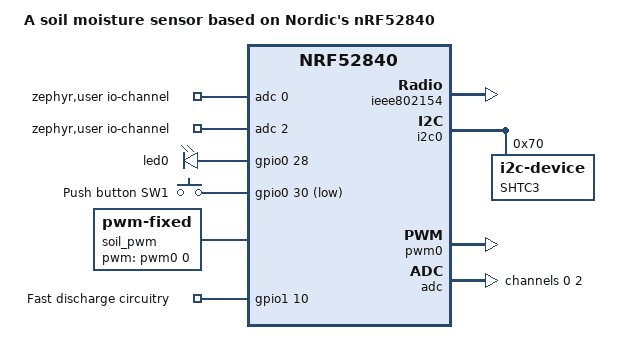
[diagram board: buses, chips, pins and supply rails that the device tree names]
/dts-v1/;
#include <nordic/nrf52840_qiaa.dtsi>
#include "bparasite_nrf52840-pinctrl.dtsi"

/ {
	model = "A soil moisture sensor based on Nordic's nRF52840";
	compatible = "rbaron,bparasite_nrf52840";

	chosen {
		zephyr,sram = &sram0;
		zephyr,flash = &flash0;
		zephyr,code-partition = &slot0_partition;
		zephyr,ieee802154 = &ieee802154;
	};

	zephyr,user {
		io-channels = <&adc 0>, <&adc 2>;
	};

	leds {
		compatible = "gpio-leds";
		led0: led_0 {
			// P0.28.
			gpios = <&gpio0 28 GPIO_ACTIVE_HIGH>;
		};
	};

	buttons {
		compatible = "gpio-keys";
		button0: button_0 {
			// P0.30.
			gpios = <&gpio0 30 (GPIO_PULL_UP | GPIO_ACTIVE_LOW)>;
			label = "Push button SW1";
		};
	};

	soil_pwm: soil_pwm {
		compatible = "pwm-fixed";
		pwms = <&pwm0 0 PWM_USEC(2) PWM_POLARITY_NORMAL>;
		pulse = <PWM_USEC(1)>;
	};

	soil_calibration_coeffs: soil_calibration_coeffs {
		compatible = "soil-calibration-coeffs";
		dry = <306000 101000 (-11700)>;
		wet = <19000 (-4980) 3420>;
	};

	ctrl {
		compatible = "gpio-keys";
		fast_disch: fast_disch {
			// P1.10.
			gpios = <&gpio1 10 GPIO_ACTIVE_HIGH>;
			label = "Fast discharge circuitry";
		};
	};
};

&uicr {
	gpio-as-nreset;
};

&gpiote {
	status = "okay";
};

&gpio0 {
	status = "okay";
	// For low-power EDGE interrupts.
	// github.com/zephyrproject-rtos/zephyr/issues/28499
	sense-edge-mask = <0xffffffff>;
};

&gpio1 {
	status = "okay";
};

&ieee802154 {
	status = "okay";
};

&uart0 {
	compatible = "nordic,nrf-uart";
	status = "disabled";
	current-speed = <115200>;
	pinctrl-0 = <&uart0_default>;
	pinctrl-1 = <&uart0_sleep>;
	pinctrl-names = "default", "sleep";
};

&i2c0 {
	compatible = "nordic,nrf-twi";
	status = "okay";
	pinctrl-0 = <&i2c0_default>;
	pinctrl-1 = <&i2c0_sleep>;
	pinctrl-names = "default", "sleep";

	shtc3: shtc3@70 {
		compatible = "i2c-device";
		reg = <0x70>;
		label = "SHTC3";
	};
};

&pwm0 {
	status = "okay";
	pinctrl-0 = <&pwm0_default>;
	pinctrl-1 = <&pwm0_sleep>;
	pinctrl-names = "default", "sleep";
};

&adc {
	#address-cells = <1>;
	#size-cells = <0>;
	status = "ok";

	// Soil.
	channel@0 {
		reg = <0>;
		zephyr,gain = "ADC_GAIN_1_6";
		zephyr,reference = "ADC_REF_VDD_1_4";
		zephyr,acquisition-time = <ADC_ACQ_TIME_DEFAULT>;
		// P0.03.
		zephyr,input-positive = <NRF_SAADC_AIN1>;
		zephyr,resolution = <10>;

	};

	// Battery.
	channel@2 {
		reg = <2>;
		zephyr,gain = "ADC_GAIN_1_6";
		zephyr,reference = "ADC_REF_INTERNAL";
		zephyr,acquisition-time = <ADC_ACQ_TIME_DEFAULT>;
		zephyr,input-positive = <NRF_SAADC_VDD>;
		zephyr,resolution = <10>;
	};
};


&flash0 {

	partitions {
		compatible = "fixed-partitions";
		#address-cells = <1>;
		#size-cells = <1>;

		boot_partition: partition@0 {
			label = "mcuboot";
			reg = <0x00000000 0x0000C000>;
		};
		slot0_partition: partition@c000 {
			label = "image-0";
			reg = <0x0000C000 0x00067000>;
		};
		slot1_partition: partition@73000 {
			label = "image-1";
			reg = <0x00073000 0x00067000>;
		};
		scratch_partition: partition@da000 {
			label = "image-scratch";
			reg = <0x000da000 0x0001e000>;
		};

		/*
		 * The flash starting at 0x000f8000 and ending at
		 * 0x000fffff is reserved for use by the application.
		 */

		/*
		 * Storage partition will be used by FCB/LittleFS/NVS
		 * if enabled.
		 */
		storage_partition: partition@f8000 {
			label = "storage";
			reg = <0x000f8000 0x00008000>;
		};
	};
};
